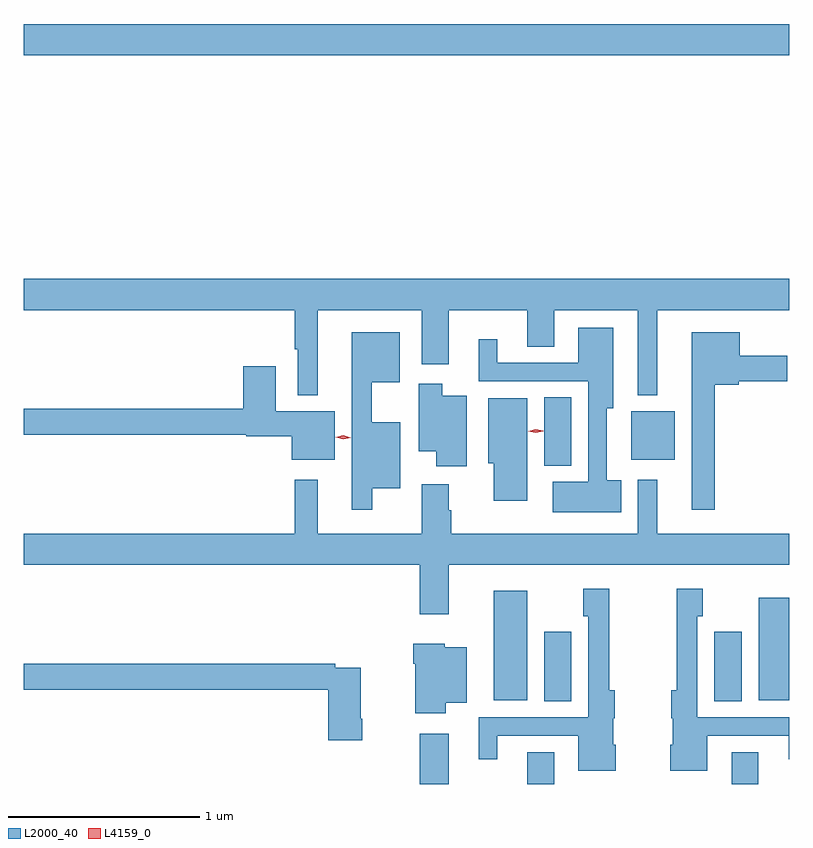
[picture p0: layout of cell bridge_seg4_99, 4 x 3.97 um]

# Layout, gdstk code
import gdstk
lib = gdstk.Library(unit=1e-6, precision=1e-09)
def R(c, l, rs):  # rectangles x0, y0, x1, y1
    for r in rs: c.add(gdstk.rectangle(r[:2], r[2:], *l))
def P(c, l, *ps):  # polygons
    for p in ps: c.add(gdstk.Polygon(p, *l))
L2000_40 = (2000, 40)
L4159_0 = (4159, 0)

bridge_seg4_99 = lib.new_cell('bridge_seg4_99')
R(bridge_seg4_99, L2000_40, [(456.629,797.007,456.781,797.269), (457.193,797.007,457.333,797.174), (458.261,797.007,458.401,797.174), (457.28,797.44,457.423,797.803), (458.171,797.44,458.314,797.803), (457.016,797.444,457.192,798.016), (458.402,797.444,458.561,797.98), (457.28,798.671,457.423,799.028), (457.736,798.701,457.963,798.955), (454.561,800.816,458.561,800.98)])
P(bridge_seg4_99, L2000_40, [(456.097,799.484),(456.641,799.484),(456.641,799.2),(456.781,799.2),(456.781,799.484),(457.193,799.484),(457.193,799.294),(457.333,799.294),(457.333,799.484),(457.769,799.484),(457.769,799.04),(457.873,799.04),(457.873,799.484),(458.561,799.484),(458.561,799.648),(454.561,799.648),(454.561,799.484),(455.976,799.484),(455.976,799.279),(455.993,799.279),(455.993,799.04),(456.097,799.04)],
  [(457.684,798.594),(457.608,798.594),(457.608,798.971),(457.642,798.971),(457.642,799.393),(457.46,799.393),(457.46,799.209),(457.036,799.209),(457.036,799.333),(456.938,799.333),(456.938,799.113),(457.512,799.113),(457.512,798.586),(457.326,798.586),(457.326,798.428),(457.684,798.428)],
  [(458.173,799.094),(458.298,799.094),(458.298,799.112),(458.551,799.112),(458.551,799.246),(458.302,799.246),(458.302,799.369),(458.051,799.369),(458.051,798.441),(458.173,798.441)],
  [(456.382,798.554),(456.529,798.554),(456.529,798.898),(456.379,798.898),(456.379,799.106),(456.526,799.106),(456.526,799.369),(456.275,799.369),(456.275,798.441),(456.382,798.441)],
  [(456.187,798.955),(455.878,798.955),(455.878,799.192),(455.708,799.192),(455.708,798.968),(454.561,798.968),(454.561,798.832),(455.724,798.832),(455.724,798.824),(455.96,798.824),(455.96,798.701),(456.187,798.701)],
  [(456.877,799.036),(456.748,799.036),(456.748,799.099),(456.626,799.099),(456.626,798.746),(456.716,798.746),(456.716,798.669),(456.877,798.669)],
  [(457.192,799.024),(456.989,799.024),(456.989,798.684),(457.016,798.684),(457.016,798.488),(457.192,798.488)],
  [(456.781,798.152),(458.561,798.152),(458.561,798.316),(457.873,798.316),(457.873,798.598),(457.769,798.598),(457.769,798.316),(456.794,798.316),(456.794,798.437),(456.781,798.437),(456.781,798.574),(456.641,798.574),(456.641,798.316),(456.097,798.316),(456.097,798.598),(455.976,798.598),(455.976,798.316),(454.561,798.316),(454.561,798.152),(456.629,798.152),(456.629,797.895),(456.781,797.895)],
  [(458.134,797.259),(458.558,797.259),(458.558,797.136),(458.561,797.136),(458.561,797.355),(458.082,797.355),(458.082,797.883),(458.109,797.883),(458.109,798.028),(457.974,798.028),(457.974,797.497),(457.945,797.497),(457.945,797.352),(457.952,797.352),(457.952,797.211),(457.94,797.211),(457.94,797.075),(458.134,797.075)],
  [(457.654,797.211),(457.642,797.211),(457.642,797.352),(457.65,797.352),(457.65,797.497),(457.621,797.497),(457.621,798.028),(457.486,798.028),(457.486,797.883),(457.512,797.883),(457.512,797.355),(456.938,797.355),(456.938,797.136),(457.036,797.136),(457.036,797.259),(457.46,797.259),(457.46,797.075),(457.654,797.075)],
  [(456.766,797.432),(456.877,797.432),(456.877,797.722),(456.762,797.722),(456.762,797.74),(456.596,797.74),(456.596,797.636),(456.608,797.636),(456.608,797.378),(456.766,797.378)],
  [(456.33,797.347),(456.322,797.347),(456.322,797.616),(456.188,797.616),(456.188,797.636),(454.561,797.636),(454.561,797.5),(456.152,797.5),(456.152,797.235),(456.33,797.235)])
P(bridge_seg4_99, L4159_0, [(457.237,798.842),(457.197,798.851),(457.197,798.852),(457.197,798.852),(457.237,798.862),(457.277,798.853),(457.277,798.853),(457.277,798.852)],
  [(456.231,798.809),(456.192,798.82),(456.192,798.82),(456.192,798.82),(456.231,798.829),(456.269,798.818),(456.27,798.818),(456.269,798.817)])

lib.write_gds('bridge_seg4_99.gds')
